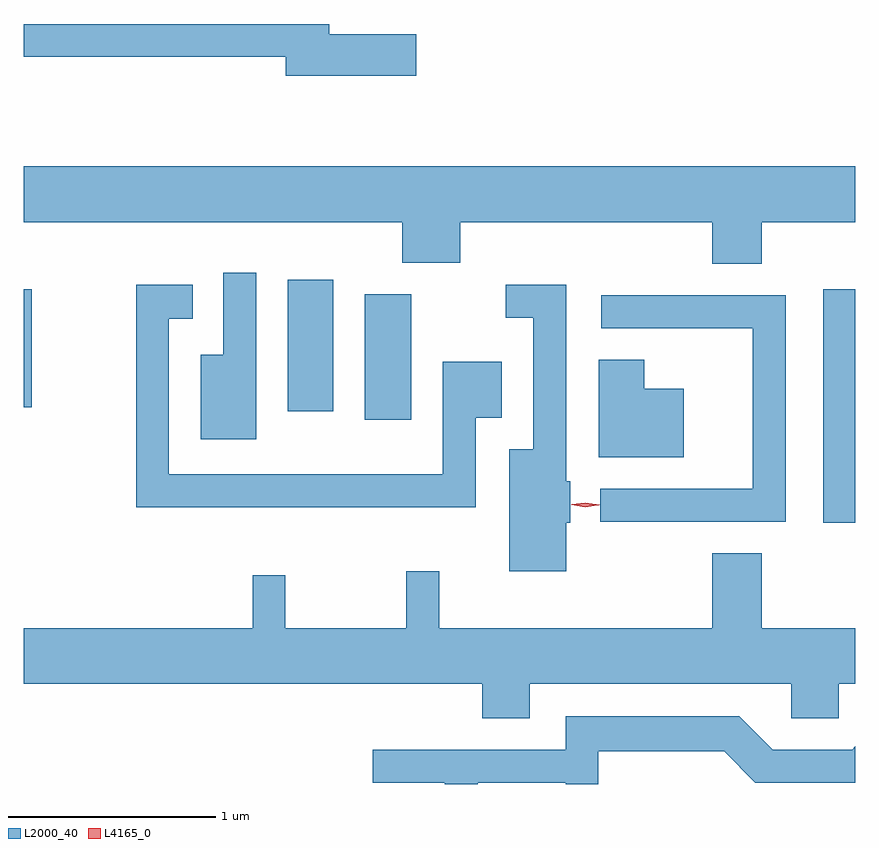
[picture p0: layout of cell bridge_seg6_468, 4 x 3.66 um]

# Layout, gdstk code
import gdstk
lib = gdstk.Library(unit=1e-6, precision=1e-09)
def R(c, l, rs):  # rectangles x0, y0, x1, y1
    for r in rs: c.add(gdstk.rectangle(r[:2], r[2:], *l))
def P(c, l, *ps):  # polygons
    for p in ps: c.add(gdstk.Polygon(p, *l))
L2000_40 = (2000, 40)
L4165_0 = (4165, 0)

bridge_seg6_468 = lib.new_cell('bridge_seg6_468')
R(bridge_seg6_468, L2000_40, [(785.431,1595.211,785.585,1596.334), (783.226,1595.706,783.449,1596.309), (782.856,1595.746,783.074,1596.379), (781.585,1595.766,781.624,1596.334)])
P(bridge_seg6_468, L2000_40, [(783.474,1597.559),(783.054,1597.559),(783.054,1597.609),(781.585,1597.609),(781.585,1597.451),(782.846,1597.451),(782.846,1597.361),(783.474,1597.361)],
  [(785.134,1596.656),(785.585,1596.656),(785.585,1596.924),(781.585,1596.924),(781.585,1596.656),(783.406,1596.656),(783.406,1596.461),(783.684,1596.461),(783.684,1596.656),(784.896,1596.656),(784.896,1596.456),(785.134,1596.456)],
  [(782.704,1596.413),(782.546,1596.413),(782.546,1596.019),(782.436,1596.019),(782.436,1595.611),(782.704,1595.611)],
  [(784.194,1595.211),(784.214,1595.211),(784.214,1595.409),(784.194,1595.409),(784.194,1596.354),(783.903,1596.354),(783.903,1596.196),(784.036,1596.196),(784.036,1595.564),(783.921,1595.564),(783.921,1594.976),(784.194,1594.976)],
  [(783.759,1595.716),(783.884,1595.716),(783.884,1595.984),(783.601,1595.984),(783.601,1595.444),(782.284,1595.444),(782.284,1596.191),(782.398,1596.191),(782.398,1596.354),(782.126,1596.354),(782.126,1595.286),(783.759,1595.286)],
  [(785.249,1596.304),(784.363,1596.304),(784.363,1596.146),(785.091,1596.146),(785.091,1595.374),(784.358,1595.374),(784.358,1595.216),(785.249,1595.216)],
  [(784.759,1595.854),(784.569,1595.854),(784.569,1595.994),(784.351,1595.994),(784.351,1595.526),(784.759,1595.526)],
  [(784.019,1594.436),(785.276,1594.436),(785.276,1594.271),(785.504,1594.271),(785.504,1594.436),(785.585,1594.436),(785.585,1594.704),(785.134,1594.704),(785.134,1595.064),(784.896,1595.064),(784.896,1594.704),(783.584,1594.704),(783.584,1594.978),(783.426,1594.978),(783.426,1594.704),(782.844,1594.704),(782.844,1594.958),(782.686,1594.958),(782.686,1594.704),(781.585,1594.704),(781.585,1594.436),(783.791,1594.436),(783.791,1594.271),(784.019,1594.271)],
  [(783.769,1593.961),(784.191,1593.961),(784.191,1593.954),(784.349,1593.954),(784.349,1594.111),(784.954,1594.111),(785.104,1593.961),(785.585,1593.961),(785.585,1594.135),(785.569,1594.119),(785.187,1594.119),(785.027,1594.279),(784.191,1594.279),(784.191,1594.119),(783.263,1594.119),(783.263,1593.961),(783.611,1593.961),(783.611,1593.954),(783.769,1593.954)])
P(bridge_seg6_468, L4165_0, [(784.286,1595.287),(784.222,1595.298),(784.221,1595.299),(784.222,1595.299),(784.287,1595.307),(784.352,1595.296),(784.352,1595.295),(784.352,1595.295)],
  [(784.286,1595.286),(784.218,1595.296),(784.217,1595.296),(784.218,1595.297),(784.286,1595.306),(784.355,1595.297),(784.356,1595.296),(784.355,1595.296)])

lib.write_gds('bridge_seg6_468.gds')
